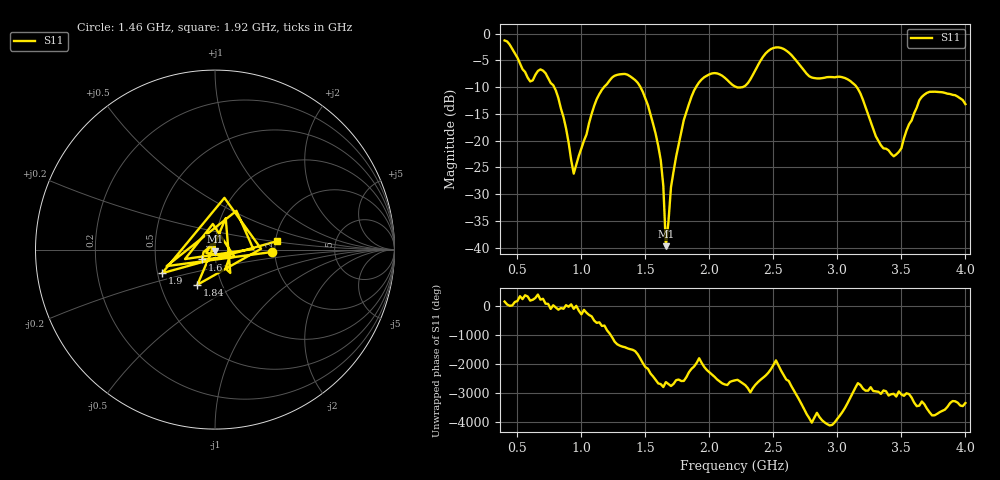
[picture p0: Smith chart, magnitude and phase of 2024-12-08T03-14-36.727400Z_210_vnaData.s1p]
!Created with skrf (http://scikit-rf.org).
# Hz S RI R 50.0
!freq ReS11 ImS11
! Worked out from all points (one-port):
!   181 points, 400 MHz to 4 GHz, reference 50 ohm
!   lowest |S11| = -39.7 dB at 1.66 GHz (marker M1), VSWR 1.02, Z = 49.9 - j1.02 ohm
!   |S11| at or under -10 dB: 787 MHz to 1.177 GHz (389.9 MHz wide, 39.7 % of centre); 1.461 GHz to 1.896 GHz (434.6 MHz wide, 25.9 % of centre); 3.15 GHz to end of sweep (the widest 3 of 4)
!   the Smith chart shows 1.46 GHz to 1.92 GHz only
!   S11 on the Smith chart (normalised r, x): 1.46 GHz: 1.93, -0.06; 1.6 GHz: 0.86, -0.09; 1.84 GHz: 0.77, -0.31; 1.9 GHz: 0.53, -0.16; 1.92 GHz: 2.05, +0.22
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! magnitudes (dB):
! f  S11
! 400 MHz  -1.3
! 600 MHz  -8.9
! 720 MHz  -7.4
! 860 MHz  -15.6
! 940 MHz  -26.2
! 1.12 GHz  -12.2
! 1.3 GHz  -7.6
! 1.46 GHz  -9.9
! 1.6 GHz  -21.0
! 1.64 GHz  -28.5
! 1.66 GHz  -39.7
! 1.7 GHz  -28.7
! 1.76 GHz  -20.7
! 1.84 GHz  -13.2
! 1.9 GHz  -9.8
! 1.92 GHz  -9.1
! 2.06 GHz  -7.4
! 2.2 GHz  -9.9
! 2.3 GHz  -9.3
! 2.48 GHz  -2.9
! 2.66 GHz  -4.5
! 2.8 GHz  -8.2
! 3.1 GHz  -8.9
! 3.34 GHz  -20.9
! 3.44 GHz  -22.9
! 3.56 GHz  -16.9
! 3.72 GHz  -10.9
! 4 GHz  -13.2
